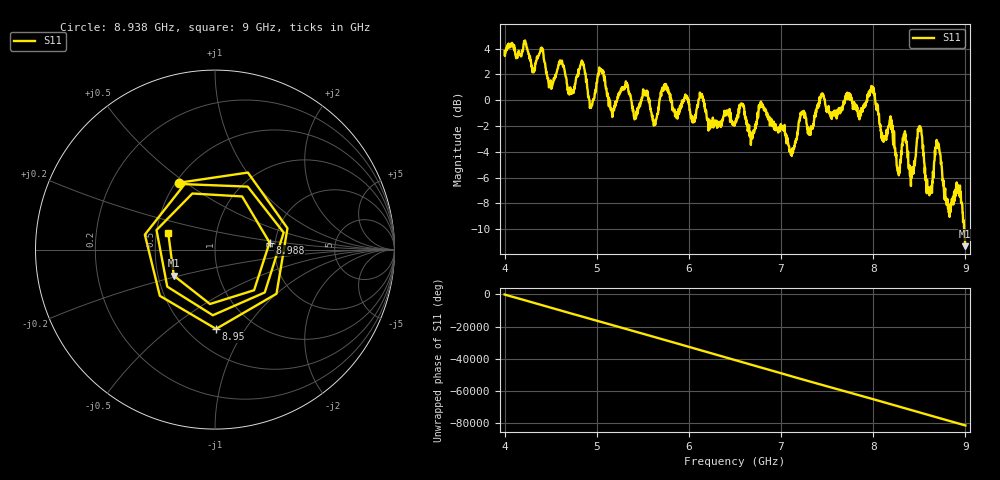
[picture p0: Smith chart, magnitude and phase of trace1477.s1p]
! Created with skrf 1.8.0 (http://scikit-rf.org).
# Hz S RI R 50.0
!freq ReS11 ImS11
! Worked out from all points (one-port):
!   1601 points, 4 GHz to 9 GHz, reference 50 ohm
!   lowest |S11| = -11.3 dB at 8.997 GHz (marker M1), VSWR 1.75, Z = 30.2 - j9.47 ohm
!   |S11| at or under -10 dB: 8.986475 GHz to end of sweep
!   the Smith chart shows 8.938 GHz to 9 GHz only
!   S11 on the Smith chart (normalised r, x): 8.938 GHz: 0.52, +0.47; 8.95 GHz: 0.68, -0.75; 8.988 GHz: 1.86, +0.16; 9 GHz: 0.58, +0.11
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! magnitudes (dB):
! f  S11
! 4 GHz  3.8
! 4.5 GHz  1.5
! 4.625 GHz  2.9
! 4.725 GHz  0.5
! 4.844 GHz  3.0
! 4.938 GHz  -0.6
! 5.047 GHz  2.3
! 5.162 GHz  -0.8
! 5.25 GHz  0.6
! 5.875 GHz  -1.4
! 6.5 GHz  -1.8
! 6.791 GHz  -0.3
! 7.125 GHz  -4.1
! 7.234 GHz  -1.0
! 7.75 GHz  0.4
! 7.991 GHz  1.0
! 8.266 GHz  -5.5
! 8.375 GHz  -4.5
! 8.422 GHz  -5.8
! 8.506 GHz  -2.1
! 8.603 GHz  -6.8
! 8.7 GHz  -3.3
! 8.816 GHz  -8.1
! 8.938 GHz  -7.5
! 8.95 GHz  -7.1
! 8.988 GHz  -10.3
! 8.997 GHz  -11.3
! 9 GHz  -11.2
